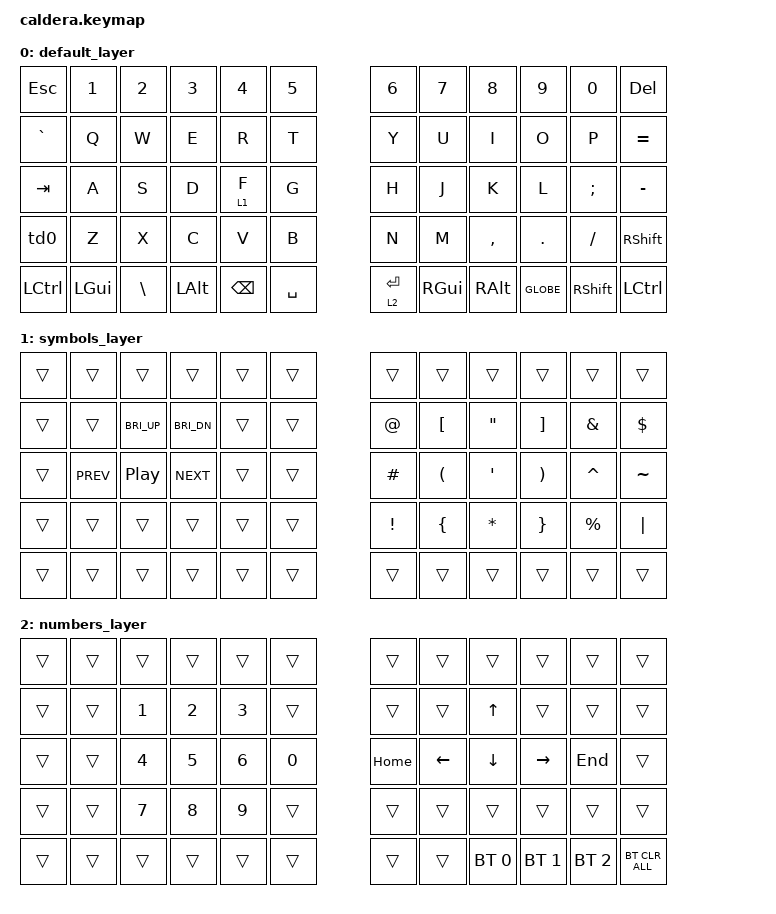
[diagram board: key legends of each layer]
// https://zmk.dev/docs/keymaps/list-of-keycodes
#include <behaviors.dtsi>
#include <dt-bindings/zmk/keys.h>
#include <dt-bindings/zmk/bt.h>
/ {
    behaviors {
        td0: tap_dance_0 {
            compatible = "zmk,behavior-tap-dance";
            label = "TAP_DANCE_0";
            #binding-cells = <0>;
            tapping-term-ms = <200>;
            bindings = <&kp LSHFT>, <&kp CAPS>;
        };
    };
    keymap {
        compatible = "zmk,keymap";
        default_layer {
            bindings = <
&kp ESC    &kp N1    &kp N2    &kp N3     &kp N4     &kp N5                 &kp N6     &kp N7    &kp N8     &kp N9    &kp N0    &kp DELETE
&kp GRAVE  &kp Q     &kp W     &kp E      &kp R      &kp T                  &kp Y      &kp U     &kp I      &kp O     &kp P     &kp EQUAL
&kp TAB    &kp A     &kp S     &kp D      &lt 1 F    &kp G                  &kp H      &kp J     &kp K      &kp L     &kp SEMI  &kp MINUS
&td0       &kp Z     &kp X     &kp C      &kp V      &kp B                  &kp N      &kp M     &kp COMMA  &kp DOT   &kp FSLH  &kp RSHFT
&kp LCTRL  &kp LGUI  &kp BSLH  &kp LALT   &kp BSPC   &kp SPACE              &lt 2 RET  &kp RGUI  &kp RALT   &kp GLOBE &kp RSHFT &kp LCTRL
            >;
        };
        symbols_layer {
            bindings = <
&trans   &trans       &trans        &trans       &trans     &trans            &trans           &trans      &trans             &trans     &trans         &trans
&trans   &trans       &kp C_BRI_UP  &kp C_BRI_DN &trans     &trans            &kp AT           &kp LBKT    &kp DOUBLE_QUOTES  &kp RBKT   &kp AMPERSAND  &kp DOLLAR
&trans   &kp C_PREV   &kp C_PP      &kp C_NEXT   &trans     &trans            &kp HASH         &kp LPAR    &kp SQT            &kp RPAR   &kp CARET      &kp TILDE
&trans   &trans       &trans        &trans       &trans     &trans            &kp EXCLAMATION  &kp LBRC    &kp ASTERISK       &kp RBRC   &kp PERCENT    &kp PIPE
&trans   &trans       &trans        &trans       &trans     &trans            &trans           &trans      &trans             &trans     &trans         &trans
            >;
        };
        numbers_layer {
            bindings = <
&trans   &trans     &trans      &trans     &trans     &trans            &trans     &trans      &trans         &trans         &trans         &trans
&trans   &trans     &kp N1      &kp N2     &kp N3     &trans            &trans     &trans      &kp UP         &trans         &trans         &trans
&trans   &trans     &kp N4      &kp N5     &kp N6     &kp N0            &kp HOME   &kp LEFT    &kp DOWN       &kp RIGHT      &kp END        &trans
&trans   &trans     &kp N7      &kp N8     &kp N9     &trans            &trans     &trans      &trans         &trans         &trans         &trans
&trans   &trans     &trans      &trans     &trans     &trans            &trans     &trans      &bt BT_SEL 0   &bt BT_SEL 1   &bt BT_SEL 2   &bt BT_CLR_ALL
            >;
        };
    };
};
